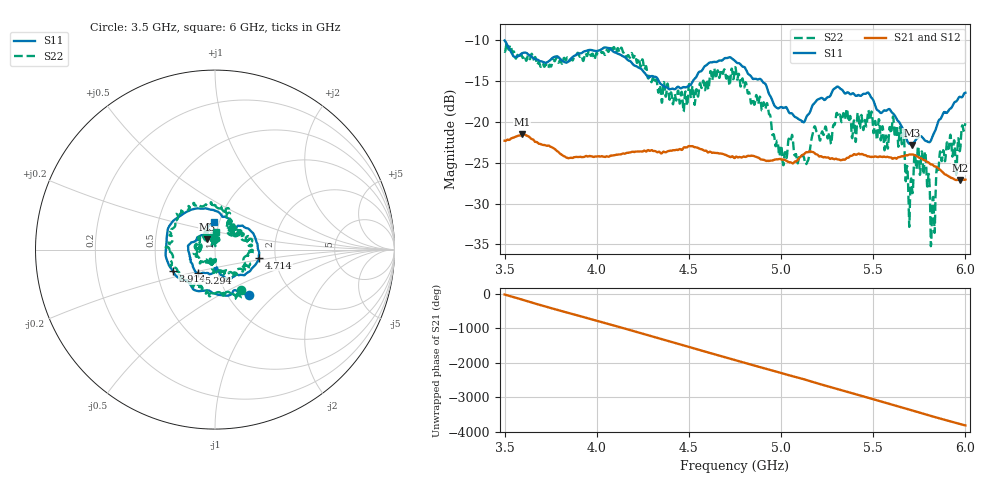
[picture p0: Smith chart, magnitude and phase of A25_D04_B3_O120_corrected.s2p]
! Created with skrf 1.9.0 (http://scikit-rf.org).
# Hz S RI R 50.0
!freq ReS11 ImS11 ReS21 ImS21 ReS12 ImS12 ReS22 ImS22
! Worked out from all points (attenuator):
!   1601 points, 3.5 GHz to 6 GHz, reference 50 ohm
!   highest |S21| = -21.53 dB at 3.594 GHz (marker M1); lowest = -27.1 dB at 5.973 GHz (marker M2)
!   lowest |S11| = -22.8 dB at 5.709 GHz (marker M3), VSWR 1.16, Z = 45.4 + j5.16 ohm
!   |S11| at or under -10 dB: 3.5 GHz to end of sweep
!   |S22| runs from -35.2 to -10.3 dB; largest |S21 - S12| = 0.001
!   S11 on the Smith chart (normalised r, x): 3.5 GHz: 1.25, -0.70; 3.914 GHz: 0.60, -0.15; 4.714 GHz: 1.64, -0.15; 5.294 GHz: 0.80, -0.22; 6 GHz: 0.95, +0.29
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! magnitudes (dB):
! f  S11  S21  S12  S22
! 3.5 GHz  -10.0  -22.3  -22.2  -11.3
! 3.594 GHz  -11.6  -21.5  -21.5  -11.9
! 3.914 GHz  -11.6  -24.3  -24.2  -11.9
! 3.917 GHz  -11.5  -24.3  -24.3  -11.8
! 4.141 GHz  -11.9  -23.9  -23.8  -11.3
! 4.334 GHz  -14.9  -23.7  -23.6  -16.4
! 4.714 GHz  -12.1  -24.2  -24.2  -14.4
! 4.75 GHz  -12.5  -24.4  -24.3  -13.4
! 4.93 GHz  -16.2  -24.8  -24.7  -18.4
! 5.019 GHz  -18.2  -24.6  -24.6  -23.9
! 5.139 GHz  -19.3  -23.7  -23.6  -25.1
! 5.167 GHz  -18.1  -23.7  -23.6  -21.8
! 5.294 GHz  -15.8  -24.5  -24.4  -20.0
! 5.584 GHz  -18.4  -24.3  -24.3  -21.7
! 5.655 GHz  -20.6  -24.2  -24.1  -22.7
! 5.686 GHz  -22.4  -24.1  -24.0  -25.7
! 5.709 GHz  -22.8  -24.0  -23.9  -27.7
! 5.773 GHz  -22.1  -24.6  -24.6  -26.3
! 5.823 GHz  -21.7  -25.2  -25.2  -29.3
! 5.869 GHz  -19.5  -26.0  -25.9  -24.4
! 5.973 GHz  -16.9  -27.1  -27.0  -23.0
! 6 GHz  -16.4  -27.1  -27.0  -20.2
